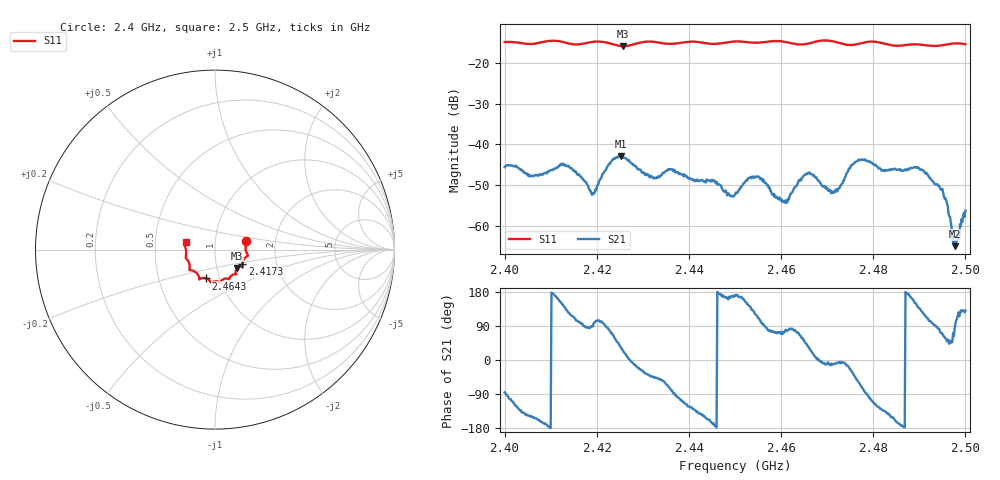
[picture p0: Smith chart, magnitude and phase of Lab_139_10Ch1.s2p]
# Hz S RI R 50
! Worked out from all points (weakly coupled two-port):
!   601 points, 2.4 GHz to 2.5 GHz, reference 50 ohm
!   highest |S21| = -42.86 dB at 2.4252 GHz (marker M1); lowest = -65.0 dB at 2.4977 GHz (marker M2)
!   lowest |S11| = -15.9 dB at 2.4257 GHz (marker M3), VSWR 1.38, Z = 62.5 - j13.1 ohm
!   |S11| at or under -10 dB: start of sweep to end of sweep
!   S12 and S22 are empty: the file has one direction only
!   S11 on the Smith chart (normalised r, x): 2.4 GHz: 1.41, +0.14; 2.4173 GHz: 1.34, -0.23; 2.4643 GHz: 0.86, -0.28; 2.5 GHz: 0.72, +0.06
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2.4e9  0.173 0.0493  0.000432 -0.00525  0 0  0 0
2.406e9  0.1706 0.00139  -0.00358 -0.002  0 0  0 0
2.412833e9  0.1749 -0.0398  -0.0044 0.00337  0 0  0 0
2.416667e9  0.1531 -0.0745  -0.000381 0.00395  0 0  0 0
2.417333e9  0.1524 -0.082  6.01e-05 0.00357  0 0  0 0
2.419333e9  0.1536 -0.0961  -0.000326 0.00246  0 0  0 0
2.425167e9  0.1265 -0.0989  0.00598 0.00399  0 0  0 0
2.425667e9  0.1229 -0.1023  0.00623 0.00299  0 0  0 0
2.433333e9  0.1132 -0.137  0.00263 -0.00309  0 0  0 0
2.436333e9  0.0918 -0.1447  0.000823 -0.0049  0 0  0 0
2.45e9  0.0295 -0.1808  -0.00241 0.000354  0 0  0 0
2.454833e9  0.00338 -0.1767  -0.00177 0.00365  0 0  0 0
2.460833e9  -0.0254 -0.1791  0.000484 0.00199  0 0  0 0
2.464333e9  -0.0499 -0.1605  0.00173 0.00316  0 0  0 0
2.466667e9  -0.0758 -0.1598  0.00402 0.00158  0 0  0 0
2.471333e9  -0.0874 -0.1615  0.00247 -0.000523  0 0  0 0
2.477e9  -0.1268 -0.1164  0.00309 -0.00558  0 0  0 0
2.483333e9  -0.1409 -0.09  -0.00382 -0.00303  0 0  0 0
2.4895e9  -0.1629 -0.0434  -0.00413 0.00305  0 0  0 0
2.4945e9  -0.1628 0.00411  0.000767 0.0028  0 0  0 0
2.497667e9  -0.1707 0.03  7.77e-05 0.000558  0 0  0 0
2.5e9  -0.1639 0.0424  -0.001 0.00117  0 0  0 0
